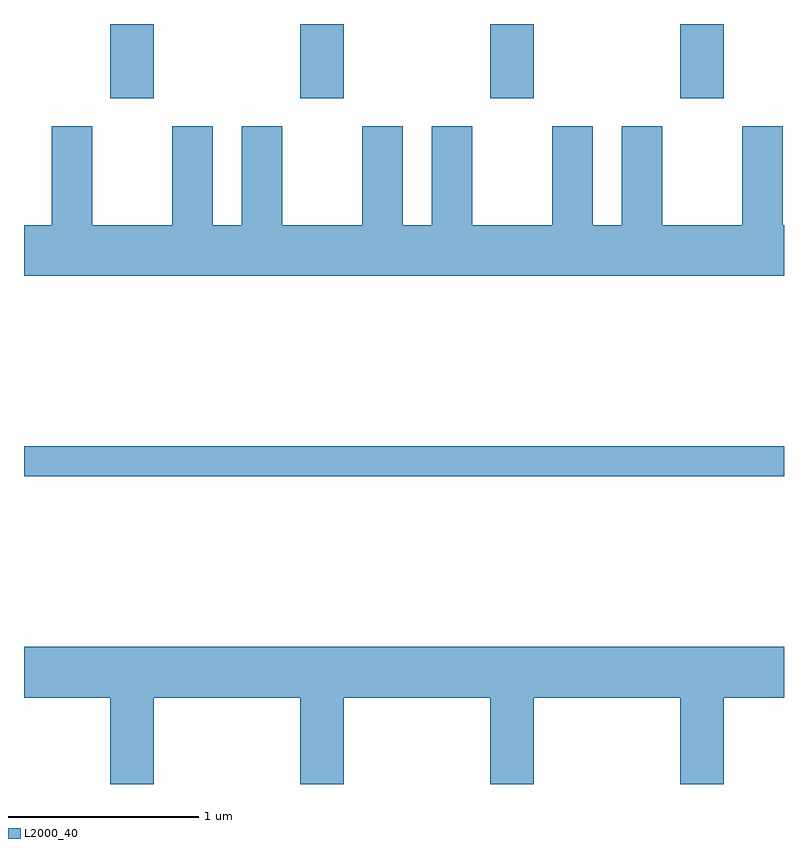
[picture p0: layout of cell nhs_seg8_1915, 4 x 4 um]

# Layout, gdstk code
import gdstk
lib = gdstk.Library(unit=1e-6, precision=1e-09)
def R(c, l, rs):  # rectangles x0, y0, x1, y1
    for r in rs: c.add(gdstk.rectangle(r[:2], r[2:], *l))
def A(c, l, x, y, w, h, nx, ny, dx, dy):  # array of equal rectangles
    R(c, l, [(x+i*dx, y+j*dy, x+i*dx+w, y+j*dy+h) for i in range(nx) for j in range(ny)])
def P(c, l, *ps):  # polygons
    for p in ps: c.add(gdstk.Polygon(p, *l))
L2000_40 = (2000, 40)

nhs_seg8_1915 = lib.new_cell('nhs_seg8_1915')
A(nhs_seg8_1915, L2000_40, 242.066, 1903.951, 0.228, 0.391, 4, 1, 1, 0)
R(nhs_seg8_1915, L2000_40, [(241.611,1901.961,245.611,1902.119)])
P(nhs_seg8_1915, L2000_40, [(245.611,1903.284),(245.604,1903.284),(245.604,1903.804),(245.391,1903.804),(245.391,1903.284),(244.969,1903.284),(244.969,1903.804),(244.756,1903.804),(244.756,1903.284),(244.604,1903.284),(244.604,1903.804),(244.391,1903.804),(244.391,1903.284),(243.969,1903.284),(243.969,1903.804),(243.756,1903.804),(243.756,1903.284),(243.604,1903.284),(243.604,1903.804),(243.391,1903.804),(243.391,1903.284),(242.969,1903.284),(242.969,1903.804),(242.756,1903.804),(242.756,1903.284),(242.604,1903.284),(242.604,1903.804),(242.391,1903.804),(242.391,1903.284),(241.969,1903.284),(241.969,1903.804),(241.756,1903.804),(241.756,1903.284),(241.611,1903.284),(241.611,1903.016),(245.611,1903.016)],
  [(241.611,1900.796),(242.066,1900.796),(242.066,1900.342),(242.294,1900.342),(242.294,1900.796),(243.066,1900.796),(243.066,1900.342),(243.294,1900.342),(243.294,1900.796),(244.066,1900.796),(244.066,1900.342),(244.294,1900.342),(244.294,1900.796),(245.066,1900.796),(245.066,1900.342),(245.294,1900.342),(245.294,1900.796),(245.611,1900.796),(245.611,1901.064),(241.611,1901.064)])

lib.write_gds('nhs_seg8_1915.gds')
